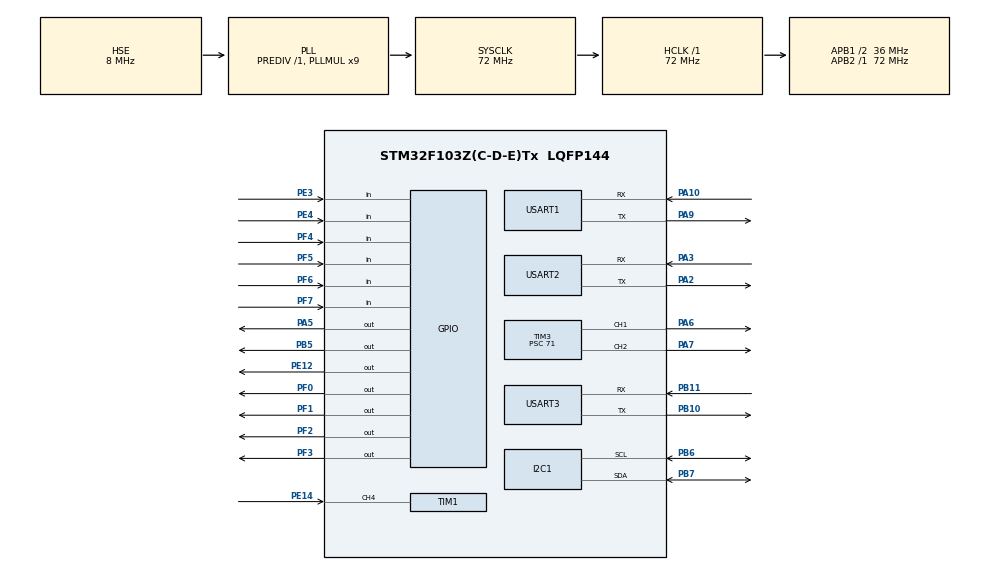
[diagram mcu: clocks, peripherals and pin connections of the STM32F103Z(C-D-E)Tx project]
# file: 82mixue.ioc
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Dma.Request0=USART1_TX
Dma.Request1=USART3_TX
Dma.USART1_TX.0.Direction=DMA_MEMORY_TO_PERIPH
Dma.USART1_TX.0.Instance=DMA1_Channel4
Dma.USART1_TX.0.MemDataAlignment=DMA_MDATAALIGN_BYTE
Dma.USART1_TX.0.MemInc=DMA_MINC_ENABLE
Dma.USART1_TX.0.Mode=DMA_NORMAL
Dma.USART1_TX.0.PeriphDataAlignment=DMA_PDATAALIGN_BYTE
Dma.USART1_TX.0.PeriphInc=DMA_PINC_DISABLE
Dma.USART1_TX.0.Priority=DMA_PRIORITY_LOW
Dma.USART3_TX.1.Direction=DMA_MEMORY_TO_PERIPH
Dma.USART3_TX.1.Instance=DMA1_Channel2
Dma.USART3_TX.1.MemDataAlignment=DMA_MDATAALIGN_BYTE
Dma.USART3_TX.1.MemInc=DMA_MINC_ENABLE
Dma.USART3_TX.1.Mode=DMA_NORMAL
Dma.USART3_TX.1.PeriphDataAlignment=DMA_PDATAALIGN_BYTE
Dma.USART3_TX.1.PeriphInc=DMA_PINC_DISABLE
Dma.USART3_TX.1.Priority=DMA_PRIORITY_LOW
Mcu.Family=STM32F1
Mcu.Name=STM32F103Z(C-D-E)Tx
Mcu.Package=LQFP144
NVIC.DMA1_Channel2_IRQn=true\:0\:0\:false\:false\:true\:false\:true\:true
NVIC.DMA1_Channel4_IRQn=true\:0\:0\:false\:false\:true\:false\:true\:true
NVIC.PriorityGroup=NVIC_PRIORITYGROUP_4
NVIC.TIM5_IRQn=true\:0\:0\:false\:false\:true\:true\:true\:true
NVIC.USART1_IRQn=true\:0\:0\:false\:false\:true\:true\:true\:true
NVIC.USART2_IRQn=true\:0\:0\:false\:false\:true\:true\:true\:true
NVIC.USART3_IRQn=true\:0\:0\:false\:false\:true\:true\:true\:true
OSC_IN.Mode=HSE-External-Oscillator
OSC_IN.Signal=RCC_OSC_IN
OSC_OUT.Mode=HSE-External-Oscillator
OSC_OUT.Signal=RCC_OSC_OUT
PA10.Mode=Asynchronous
PA10.Signal=USART1_RX
PA2.Mode=Asynchronous
PA2.Signal=USART2_TX
PA3.Mode=Asynchronous
PA3.Signal=USART2_RX
PA5.GPIO_PuPd=GPIO_PULLDOWN
PA5.Signal=GPIO_Output
PA6.Signal=S_TIM3_CH1
PA7.Signal=S_TIM3_CH2
PA9.Mode=Asynchronous
PA9.Signal=USART1_TX
PB10.Mode=Asynchronous
PB10.Signal=USART3_TX
PB11.Mode=Asynchronous
PB11.Signal=USART3_RX
PB5.GPIO_PuPd=GPIO_PULLUP
PB5.PinState=GPIO_PIN_RESET
PB5.Signal=GPIO_Output
PB6.Mode=I2C
PB6.Signal=I2C1_SCL
PB7.Mode=I2C
PB7.Signal=I2C1_SDA
PC14-OSC32_IN.Mode=LSE-External-Oscillator
PC14-OSC32_IN.Signal=RCC_OSC32_IN
PC15-OSC32_OUT.Mode=LSE-External-Oscillator
PC15-OSC32_OUT.Signal=RCC_OSC32_OUT
PE12.GPIO_Speed=GPIO_SPEED_FREQ_HIGH
PE12.Signal=GPIO_Output
PE14.Signal=S_TIM1_CH4
PE3.GPIO_PuPd=GPIO_PULLUP
PE3.Signal=GPIO_Input
PE4.GPIO_PuPd=GPIO_PULLUP
PE4.Signal=GPIO_Input
PF0.Signal=GPIO_Output
PF1.Signal=GPIO_Output
PF2.Signal=GPIO_Output
PF3.Signal=GPIO_Output
PF4.GPIO_PuPd=GPIO_PULLUP
PF4.Signal=GPIO_Input
PF5.GPIO_PuPd=GPIO_PULLUP
PF5.Signal=GPIO_Input
PF6.GPIO_PuPd=GPIO_PULLUP
PF6.Signal=GPIO_Input
PF7.GPIO_PuPd=GPIO_PULLUP
PF7.Signal=GPIO_Input
ProjectManager.HeapSize=0x200
ProjectManager.StackSize=0x400
ProjectManager.TargetToolchain=MDK-ARM V5.32
RCC.AHBFreq_Value=72000000
RCC.APB1CLKDivider=RCC_HCLK_DIV2
RCC.APB1Freq_Value=36000000
RCC.APB1TimFreq_Value=72000000
RCC.APB2Freq_Value=72000000
RCC.APB2TimFreq_Value=72000000
RCC.HCLKFreq_Value=72000000
RCC.PLLMUL=RCC_PLL_MUL9
RCC.PLLSourceVirtual=RCC_PLLSOURCE_HSE
RCC.SYSCLKFreq_VALUE=72000000
RCC.SYSCLKSource=RCC_SYSCLKSOURCE_PLLCLK
RCC.USBFreq_Value=72000000
SH.S_TIM1_CH4.0=TIM1_CH4,Input_Capture4_from_TI4
SH.S_TIM3_CH1.0=TIM3_CH1,PWM Generation1 CH1
SH.S_TIM3_CH2.0=TIM3_CH2,PWM Generation2 CH2
TIM1.Channel-Input_Capture4_from_TI4=TIM_CHANNEL_4
TIM1.Prescaler=71
TIM3.Channel-PWM\ Generation1\ CH1=TIM_CHANNEL_1
TIM3.Channel-PWM\ Generation2\ CH2=TIM_CHANNEL_2
TIM3.Period=19999
TIM3.Prescaler=71
TIM5.AutoReloadPreload=TIM_AUTORELOAD_PRELOAD_ENABLE
TIM5.Period=9999
TIM5.Prescaler=71
USART1.VirtualMode=VM_ASYNC
USART2.VirtualMode=VM_ASYNC
USART3.VirtualMode=VM_ASYNC
VP_SYS_VS_ND.Mode=No_Debug
VP_TIM5_VS_ClockSourceINT.Mode=Internal
board=custom

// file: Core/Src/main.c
/* USER CODE BEGIN Header */
/*
 * @Author: WSY
 * @Date: 2023-08-02 16:38:13
 * @LastEditors: WSY
 * @LastEditTime: 2023-08-06 16:23:18
 * @FilePath: \8_5Code\Core\Src\main.c
 * @Description: ...
 * 日落飞景�??????长河,天地壮我行色
 * Copyright (c) 2023 by WSY, All Rights Reserved.
 */
/* USER CODE END Header */
#include "main.h"
#include "dma.h"
#include "i2c.h"
#include "tim.h"
#include "usart.h"
#include "gpio.h"

/* USER CODE BEGIN Includes */
#include "stdio.h"
#include "Task.h"
#include "OpenMVTrans.h"
#include "VOFA.h"
/* USER CODE END Includes */

void SystemClock_Config(void);

int main(void)
{
  /* USER CODE BEGIN 1 */
  char key_confirm;
  /* USER CODE END 1 */

  /* MCU Configuration--------------------------------------------------------*/

  /* Reset of all peripherals, Initializes the Flash interface and the Systick. */
  HAL_Init();

  /* Configure the system clock */
  SystemClock_Config();

  /* Initialize all configured peripherals */
  MX_GPIO_Init();
  MX_DMA_Init();
  MX_TIM3_Init();
  MX_USART1_UART_Init();
  MX_USART2_UART_Init();
  MX_TIM5_Init();
  MX_I2C1_Init();
  MX_TIM1_Init();
  MX_USART3_UART_Init();
  /* USER CODE BEGIN 2 */
  // 使能两路PWM 设置初始值为左上�????
  HAL_TIM_PWM_Start(&htim3, TIM_CHANNEL_1);
  HAL_TIM_PWM_Start(&htim3, TIM_CHANNEL_2);
  TIM3->CCR1 = 1700;
  TIM3->CCR2 = 1700;
  HAL_GPIO_WritePin(GPIOC,GPIO_PIN_13,RESET);
  HAL_UART_Receive_IT(&huart2, &openmvTx, 1);

  /* USER CODE END 2 */

  /* Infinite loop */
  /* USER CODE BEGIN WHILE */

  while (key_confirm == 0)
  {
    key_confirm = KEY_SCAN();
  }
  while (1)
  {
    switch (key_confirm)
    {
    case 1:
      TaskOne();
      break;
    case 2:
      TaskTwo();
      break;
    case 3:
      TaskThree();
      break;
    case 4:
      TaskFour();
      break;
    case 5:
      TaskOne_s();
      break;
    case 7:
      TaskTwo_s();
      break;
    default:
      break;
    }
    VOFATransmit();
    /* USER CODE END WHILE */

  }
}

void SystemClock_Config(void)
{
  RCC_OscInitTypeDef RCC_OscInitStruct = {0};
  RCC_ClkInitTypeDef RCC_ClkInitStruct = {0};

  /** Initializes the RCC Oscillators according to the specified parameters
   * in the RCC_OscInitTypeDef structure.
   */
  RCC_OscInitStruct.OscillatorType = RCC_OSCILLATORTYPE_HSE;
  RCC_OscInitStruct.HSEState = RCC_HSE_ON;
  RCC_OscInitStruct.HSEPredivValue = RCC_HSE_PREDIV_DIV1;
  RCC_OscInitStruct.HSIState = RCC_HSI_ON;
  RCC_OscInitStruct.PLL.PLLState = RCC_PLL_ON;
  RCC_OscInitStruct.PLL.PLLSource = RCC_PLLSOURCE_HSE;
  RCC_OscInitStruct.PLL.PLLMUL = RCC_PLL_MUL9;
  if (HAL_RCC_OscConfig(&RCC_OscInitStruct) != HAL_OK)
  {
    Error_Handler();
  }

  /** Initializes the CPU, AHB and APB buses clocks
   */
  RCC_ClkInitStruct.ClockType = RCC_CLOCKTYPE_HCLK | RCC_CLOCKTYPE_SYSCLK | RCC_CLOCKTYPE_PCLK1 | RCC_CLOCKTYPE_PCLK2;
  RCC_ClkInitStruct.SYSCLKSource = RCC_SYSCLKSOURCE_PLLCLK;
  RCC_ClkInitStruct.AHBCLKDivider = RCC_SYSCLK_DIV1;
  RCC_ClkInitStruct.APB1CLKDivider = RCC_HCLK_DIV2;
  RCC_ClkInitStruct.APB2CLKDivider = RCC_HCLK_DIV1;

  if (HAL_RCC_ClockConfig(&RCC_ClkInitStruct, FLASH_LATENCY_2) != HAL_OK)
  {
    Error_Handler();
  }
}

void Error_Handler(void)
{
  __disable_irq();
  while (1)
  {
  }
}
